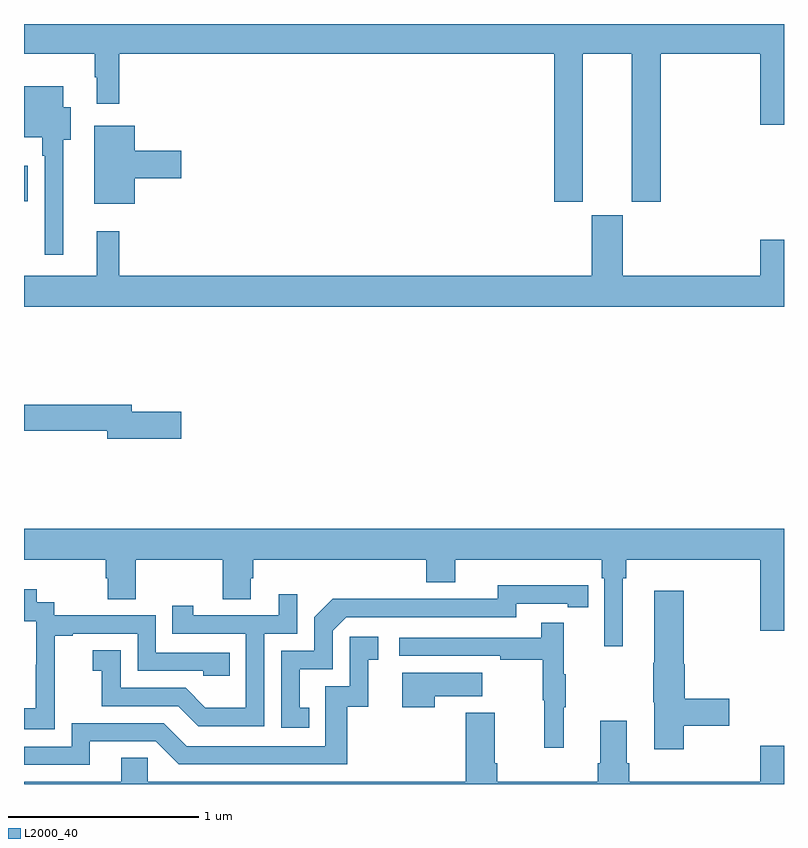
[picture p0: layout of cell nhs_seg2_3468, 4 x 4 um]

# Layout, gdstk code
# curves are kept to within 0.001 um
import gdstk
lib = gdstk.Library(unit=1e-6, precision=1e-09)
def R(c, l, rs):  # rectangles x0, y0, x1, y1
    for r in rs: c.add(gdstk.rectangle(r[:2], r[2:], *l))
def P(c, l, *ps):  # polygons
    for p in ps: c.add(gdstk.Polygon(p, *l))
L2000_40 = (2000, 40)

nhs_seg2_3468 = lib.new_cell('nhs_seg2_3468')
R(nhs_seg2_3468, L2000_40, [(293,638.867,293.02,639.055)])
P(nhs_seg2_3468, L2000_40, [(295.942,639.644),(296.198,639.644),(296.198,638.865),(296.351,638.865),(296.351,639.644),(296.876,639.644),(296.876,639.27),(297,639.27),(297,639.8),(293,639.8),(293,639.644),(293.373,639.644),(293.373,639.521),(293.384,639.521),(293.384,639.381),(293.501,639.381),(293.501,639.644),(295.79,639.644),(295.79,638.865),(295.942,638.865)],
  [(293.206,639.191),(293.245,639.191),(293.245,639.361),(293.206,639.361),(293.206,639.472),(293,639.472),(293,639.203),(293.097,639.203),(293.097,639.107),(293.109,639.107),(293.109,638.586),(293.206,638.586)],
  [(293.584,638.987),(293.827,638.987),(293.827,639.134),(293.584,639.134),(293.584,639.265),(293.369,639.265),(293.369,638.855),(293.584,638.855)],
  [(297,638.665),(296.876,638.665),(296.876,638.476),(296.152,638.476),(296.152,638.793),(295.988,638.793),(295.988,638.476),(293.501,638.476),(293.501,638.71),(293.384,638.71),(293.384,638.476),(293,638.476),(293,638.312),(297,638.312)],
  [(293.827,637.76),(293.566,637.76),(293.566,637.796),(293,637.796),(293,637.66),(293.438,637.66),(293.438,637.618),(293.827,637.618)],
  [(296.152,636.884),(296.171,636.884),(296.171,636.98),(296.876,636.98),(296.876,636.606),(297,636.606),(297,637.144),(293,637.144),(293,636.98),(293.429,636.98),(293.429,636.882),(293.441,636.882),(293.441,636.772),(293.589,636.772),(293.589,636.98),(294.046,636.98),(294.046,636.772),(294.193,636.772),(294.193,636.882),(294.206,636.882),(294.206,636.98),(295.118,636.98),(295.118,636.863),(295.27,636.863),(295.27,636.98),(296.042,636.98),(296.042,636.884),(296.055,636.884),(296.055,636.525),(296.152,636.525)],
  [(294.5,636.201),(294.451,636.201),(294.451,636.405),(294.624,636.405),(294.624,636.606),(294.696,636.678),(295.59,636.678),(295.59,636.75),(295.862,636.75),(295.862,636.73),(295.97,636.73),(295.97,636.846),(295.494,636.847),(295.494,636.774),(295.034,636.774),(295.034,636.776),(294.626,636.776),(294.528,636.678),(294.528,636.501),(294.354,636.501),(294.354,636.096),(294.5,636.096)],
  [(293.163,636.295),(293.162,636.295),(293.162,636.579),(293.257,636.579),(293.257,636.591),(293.598,636.591),(293.598,636.396),(293.943,636.396),(293.943,636.369),(294.083,636.369),(294.083,636.492),(293.694,636.492),(293.694,636.687),(293.16,636.687),(293.16,636.756),(293.068,636.756),(293.068,636.826),(293,636.826),(293,636.657),(293.064,636.657),(293.064,636.428),(293.063,636.428),(293.063,636.199),(293,636.199),(293,636.089),(293.163,636.089)],
  [(296.472,636.106),(296.713,636.106),(296.713,636.248),(296.477,636.248),(296.477,636.431),(296.472,636.431),(296.472,636.817),(296.318,636.817),(296.318,636.437),(296.311,636.437),(296.311,636.231),(296.318,636.231),(296.318,635.982),(296.472,635.982)],
  [(294.264,636.591),(294.438,636.591),(294.438,636.799),(294.341,636.799),(294.341,636.687),(293.89,636.687),(293.89,636.739),(293.779,636.739),(293.779,636.591),(294.168,636.591),(294.168,636.202),(293.954,636.202),(293.85,636.306),(293.508,636.306),(293.508,636.505),(293.361,636.505),(293.361,636.395),(293.41,636.395),(293.41,636.21),(293.813,636.21),(293.918,636.105),(294.264,636.105)],
  [(295.841,636.203),(295.852,636.203),(295.852,636.377),(295.841,636.377),(295.841,636.649),(295.723,636.649),(295.723,636.57),(294.975,636.57),(294.975,636.474),(295.507,636.474),(295.507,636.454),(295.731,636.454),(295.731,636.24),(295.738,636.24),(295.738,635.991),(295.841,635.991)],
  [(293.347,636.024),(293.694,636.024),(293.814,635.904),(294.701,635.904),(294.701,636.207),(294.812,636.207),(294.812,636.453),(294.865,636.453),(294.865,636.574),(294.714,636.574),(294.714,636.315),(294.585,636.315),(294.585,636),(293.856,636),(293.736,636.12),(293.25,636.12),(293.25,635.997),(293,635.997),(293,635.901),(293.347,635.901)],
  [(295.163,636.263),(295.411,636.263),(295.411,636.385),(294.992,636.385),(294.992,636.204),(295.163,636.204)],
  [(297,636.001),(296.876,636.001),(296.876,635.812),(296.186,635.812),(296.186,635.908),(296.173,635.908),(296.173,636.133),(296.033,636.133),(296.033,635.908),(296.021,635.908),(296.021,635.812),(295.49,635.812),(295.49,635.908),(295.477,635.908),(295.477,636.175),(295.325,636.175),(295.325,635.812),(293.652,635.812),(293.652,635.939),(293.513,635.939),(293.513,635.812),(293,635.812),(293,635.8),(297,635.8)])

lib.write_gds('nhs_seg2_3468.gds')
